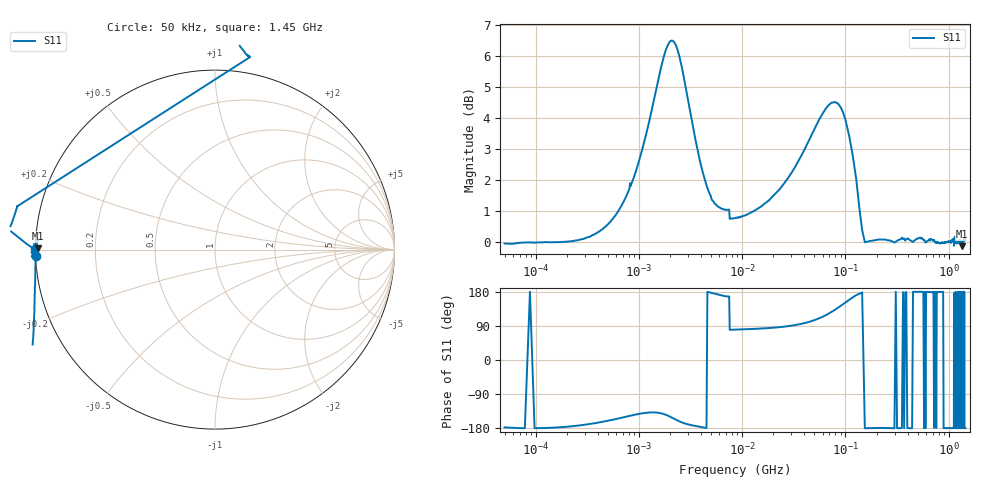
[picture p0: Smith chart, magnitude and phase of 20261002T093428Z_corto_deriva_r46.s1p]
! piloto_deriva / corto_deriva / r46
# HZ S RI R 50
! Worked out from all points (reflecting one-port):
!   501 points, 50 kHz to 1.45 GHz, reference 50 ohm
!   lowest |S11| = -0.1 dB at 1.351 GHz (marker M1), VSWR 139.70, Z = 0.358 + j0.197 ohm
!   phase of S11 starts at -178 deg and turns -2 deg over the sweep
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50000  -0.9948 -0.0377
183000  -0.9996 -0.052
363500  -1.003 -0.2243
658000  -1.014 -0.511
1180000  -1.137 -0.9764
1630000  -1.476 -1.21
1990000  -1.811 -1.078
2170000  -1.9 -0.9116
2440000  -1.902 -0.6412
3070000  -1.632 -0.2688
4330000  -1.263 -0.0294
7300000  -1.102 0.2424
7750000  0.1947 1.075
8560000  0.1876 1.078
1.9e7  0.1093 1.173
3.16e7  -0.035 1.312
4.69e7  -0.3239 1.454
6.76e7  -0.8606 1.418
7.93e7  -1.139 1.238
9.37e7  -1.355 0.8998
9.82e7  -1.385 0.7842
1e8  -1.392 0.7391
1.18e8  -1.332 0.3389
1.36e8  -1.135 0.1004
1.63e8  -1.002 -0.00382
4.06e8  -1.013 -0.00239
1.351e9  -0.9858 0.00776
1.45e9  -1.011 -0.003
